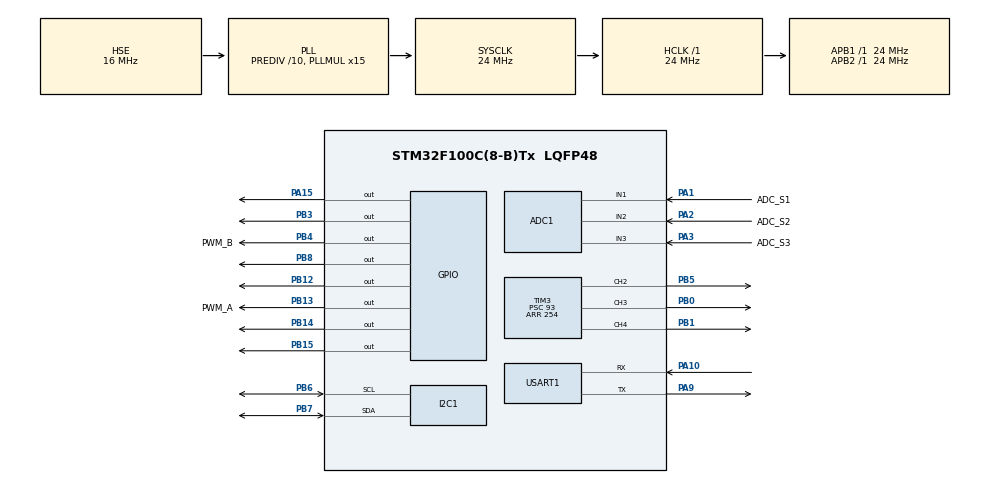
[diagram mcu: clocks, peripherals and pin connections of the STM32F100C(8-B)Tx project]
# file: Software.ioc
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ADC1.Channel-1\#ChannelRegularConversion=ADC_CHANNEL_1
ADC1.ContinuousConvMode=DISABLE
ADC1.NbrOfConversion=1
ADC1.NbrOfConversionFlag=1
ADC1.Rank-1\#ChannelRegularConversion=1
ADC1.SamplingTime-1\#ChannelRegularConversion=ADC_SAMPLETIME_1CYCLE_5
ADC1.master=1
Mcu.Family=STM32F1
Mcu.Name=STM32F100C(8-B)Tx
Mcu.Package=LQFP48
NVIC.PriorityGroup=NVIC_PRIORITYGROUP_4
NVIC.TIM1_BRK_TIM15_IRQn=true\:0\:0\:false\:false\:true\:true\:true
NVIC.TIM2_IRQn=true\:0\:0\:false\:false\:true\:true\:true
NVIC.TIM3_IRQn=true\:0\:0\:false\:false\:true\:true\:true
NVIC.TIM4_IRQn=true\:0\:0\:false\:false\:true\:true\:true
NVIC.TIM6_DAC_IRQn=true\:0\:0\:false\:false\:true\:true\:true
NVIC.TIM7_IRQn=true\:0\:0\:false\:false\:true\:true\:true
PA1.GPIO_Label=ADC_S1
PA1.Signal=ADCx_IN1
PA10.Mode=Asynchronous
PA10.Signal=USART1_RX
PA13.Mode=Serial_Wire
PA13.Signal=SYS_JTMS-SWDIO
PA14.Mode=Serial_Wire
PA14.Signal=SYS_JTCK-SWCLK
PA15.Signal=GPIO_Output
PA2.GPIO_Label=ADC_S2
PA2.Signal=ADCx_IN2
PA3.GPIO_Label=ADC_S3
PA3.Signal=ADCx_IN3
PA9.Mode=Asynchronous
PA9.Signal=USART1_TX
PB0.Signal=S_TIM3_CH3
PB1.Signal=S_TIM3_CH4
PB12.Signal=GPIO_Output
PB13.GPIO_Label=PWM_A
PB13.Signal=GPIO_Output
PB14.Signal=GPIO_Output
PB15.Signal=GPIO_Output
PB3.Signal=GPIO_Output
PB4.GPIO_Label=PWM_B
PB4.Signal=GPIO_Output
PB5.Signal=S_TIM3_CH2
PB6.Mode=I2C
PB6.Signal=I2C1_SCL
PB7.Mode=I2C
PB7.Signal=I2C1_SDA
PB8.Signal=GPIO_Output
PD0-OSC_IN.Mode=HSE-External-Oscillator
PD0-OSC_IN.Signal=RCC_OSC_IN
PD1-OSC_OUT.Mode=HSE-External-Oscillator
PD1-OSC_OUT.Signal=RCC_OSC_OUT
ProjectManager.HeapSize=0x200
ProjectManager.StackSize=0x400
ProjectManager.TargetToolchain=STM32CubeIDE
RCC.AHBFreq_Value=24000000
RCC.APB1Freq_Value=24000000
RCC.APB1TimFreq_Value=24000000
RCC.APB2Freq_Value=24000000
RCC.APB2TimFreq_Value=24000000
RCC.HCLKFreq_Value=24000000
RCC.HSEDivPLL=RCC_HSE_PREDIV_DIV10
RCC.HSE_VALUE=16000000
RCC.PLLMUL=RCC_PLL_MUL15
RCC.PLLSource=RCC_PLLSOURCE_HSE
RCC.SYSCLKFreq_VALUE=24000000
RCC.SYSCLKSource=RCC_SYSCLKSOURCE_PLLCLK
SH.ADCx_IN1.0=ADC1_IN1,IN1
SH.ADCx_IN2.0=ADC1_IN2,IN2
SH.ADCx_IN3.0=ADC1_IN3,IN3
SH.S_TIM3_CH2.0=TIM3_CH2,PWM Generation2 CH2
SH.S_TIM3_CH3.0=TIM3_CH3,PWM Generation3 CH3
SH.S_TIM3_CH4.0=TIM3_CH4,PWM Generation4 CH4
TIM15.Period=23999
TIM15.Prescaler=9999
TIM2.ClockDivision=TIM_CLOCKDIVISION_DIV1
TIM2.Period=99
TIM2.Prescaler=23
TIM3.Channel-PWM\ Generation2\ CH2=TIM_CHANNEL_2
TIM3.Channel-PWM\ Generation3\ CH3=TIM_CHANNEL_3
TIM3.Channel-PWM\ Generation4\ CH4=TIM_CHANNEL_4
TIM3.Period=254
TIM3.Prescaler=93
TIM4.Period=239
TIM4.Prescaler=9999
TIM6.Period=999
TIM6.Prescaler=239
TIM7.Period=239
TIM7.Prescaler=99
USART1.VirtualMode=VM_ASYNC
USART1.WordLength=WORDLENGTH_9B
VP_TIM15_VS_ClockSourceINT.Mode=Internal
VP_TIM2_VS_ClockSourceINT.Mode=Internal
VP_TIM4_VS_ClockSourceINT.Mode=Internal
VP_TIM6_VS_ClockSourceINT.Mode=Enable_Timer
VP_TIM7_VS_ClockSourceINT.Mode=Enable_Timer
board=custom

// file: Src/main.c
/* USER CODE BEGIN Header */
/**
  ******************************************************************************
  * @file           : main.c
  * @brief          : Main program body
  ******************************************************************************
  * @attention
  *
  * <h2><center>&copy; Copyright (c) 2019 STMicroelectronics.
  * All rights reserved.</center></h2>
  *
  * This software component is licensed by ST under BSD 3-Clause license,
  * the "License"; You may not use this file except in compliance with the
  * License. You may obtain a copy of the License at:
  *                        opensource.org/licenses/BSD-3-Clause
  *
  ******************************************************************************
  */
/* USER CODE END Header */

#include "main.h"

ADC_HandleTypeDef hadc1;

I2C_HandleTypeDef hi2c1;

TIM_HandleTypeDef htim2;
TIM_HandleTypeDef htim3;
TIM_HandleTypeDef htim4;
TIM_HandleTypeDef htim6;
TIM_HandleTypeDef htim7;
TIM_HandleTypeDef htim15;

UART_HandleTypeDef huart1;

/* USER CODE BEGIN PV */
/* Private variables ---------------------------------------------------------*/
float accAngle = 0;
float gyroAngle = 0;
float rawGyro = 0;
float rawAccel = 0;
int8_t theta;
uint8_t cnt = 0;
int16_t previousAngle = 0;
int16_t currentAngle = 0;
int16_t angleSum = 0;

Voltage battery;

char received;

motor_t left_motor = {LEFT_SIDE, 50};
motor_t right_motor = {RIGHT_SIDE, 50};
uint8_t pwm_cnt;

/* USER CODE END PV */

void SystemClock_Config(void);
static void MX_GPIO_Init(void);
static void MX_I2C1_Init(void);
static void MX_USART1_UART_Init(void);
static void MX_TIM2_Init(void);
static void MX_TIM4_Init(void);
static void MX_TIM6_Init(void);
static void MX_TIM7_Init(void);
static void MX_TIM3_Init(void);
static void MX_ADC1_Init(void);
static void MX_TIM15_Init(void);
/* USER CODE BEGIN PFP */
/* Private function prototypes -----------------------------------------------*/
void HAL_TIM_PeriodElapsedCallback(TIM_HandleTypeDef *htim){
	if(htim->Instance == TIM2){
		pwm_cnt++;
		generateMotorsPWM(&left_motor, &right_motor, pwm_cnt);
		if(pwm_cnt >= 100)
			pwm_cnt = 0;
	}
	if(htim->Instance == TIM4){
		anglePID(0,theta);
	}
	if(htim->Instance == TIM7){
		//frequency = 1kHz
		gyroAngle = getGyroPitch(gyroAngle, rawGyro);
		accAngle = rawAccel;
		theta = getKalmanAngle(theta, getGyroYRate(rawGyro), 0.04);
	}
	if(htim->Instance == TIM15){
		measureBatteryLevel(&battery);
	}
}

void HAL_UART_RxCpltCallback(UART_HandleTypeDef *huart) {
	if(received == 't'){
		HAL_GPIO_TogglePin(GPIOB, LED);
	}
	  HAL_UART_Receive_IT(&huart1, &received, sizeof(received));
}

/* USER CODE END PFP */

int main(void)
{
  /* USER CODE BEGIN 1 */
	pwm_cnt = 0;

  /* USER CODE END 1 */

  /* MCU Configuration--------------------------------------------------------*/

  /* Reset of all peripherals, Initializes the Flash interface and the Systick. */
  HAL_Init();

  /* Configure the system clock */
  SystemClock_Config();

  /* Initialize all configured peripherals */
  MX_GPIO_Init();
  MX_I2C1_Init();
  MX_USART1_UART_Init();
  MX_TIM2_Init();
  MX_TIM4_Init();
  MX_TIM6_Init();
  MX_TIM7_Init();
  MX_TIM3_Init();
  MX_ADC1_Init();
  MX_TIM15_Init();
  /* USER CODE BEGIN 2 */
  PID_Init();
  gy521_Init();
  gyroAngle = getAccelPitch();
  accAngle = gyroAngle;
  _angle = gyroAngle;
  kalmanInit();
  HAL_TIM_Base_Start_IT(&htim2);
  HAL_TIM_Base_Start_IT(&htim4);
  HAL_TIM_Base_Start_IT(&htim6);
  HAL_TIM_Base_Start_IT(&htim7);
  HAL_SetTickFreq(HAL_TICK_FREQ_DEFAULT);
  test = 0;

  HAL_TIM_PWM_Start_IT(&htim3, TIM_CHANNEL_2);
  HAL_TIM_PWM_Start_IT(&htim3, TIM_CHANNEL_3);
  HAL_TIM_PWM_Start_IT(&htim3, TIM_CHANNEL_4);

  HAL_ADC_Start(&hadc1);

  HAL_UART_Receive_IT(&huart1, &received, sizeof(received));
  /* USER CODE END 2 */

  /* Infinite loop */
  /* USER CODE BEGIN WHILE */
  while (1){

	  moveRobot(FORWARD);
	  setMotorSpeed(&left_motor, 0);
	  HAL_Delay(1000);
	  setMotorSpeed(&left_motor, 25);
	  HAL_Delay(1000);
	  setMotorSpeed(&left_motor, 50);
	  HAL_Delay(1000);
	  setMotorSpeed(&left_motor, 75);
	  HAL_Delay(1000);
	  setMotorSpeed(&left_motor, 100);
	  HAL_Delay(1000);
	  setMotorSpeed(&left_motor, 75);
	  HAL_Delay(1000);
	  setMotorSpeed(&left_motor, 50);
	  HAL_Delay(1000);
	  setMotorSpeed(&left_motor, 25);
	  HAL_Delay(1000);
	  //rawGyro = getGyro_Y();
	  //rawAccel = getAccelPitch();

	 // HAL_GPIO_WritePin(GPIOB,LED,GPIO_PIN_SET);
    /* USER CODE END WHILE */

  }
}

void SystemClock_Config(void)
{
  RCC_OscInitTypeDef RCC_OscInitStruct = {0};
  RCC_ClkInitTypeDef RCC_ClkInitStruct = {0};
  RCC_PeriphCLKInitTypeDef PeriphClkInit = {0};

  /** Initializes the CPU, AHB and APB busses clocks
  */
  RCC_OscInitStruct.OscillatorType = RCC_OSCILLATORTYPE_HSE;
  RCC_OscInitStruct.HSEState = RCC_HSE_ON;
  RCC_OscInitStruct.HSEPredivValue = RCC_HSE_PREDIV_DIV10;
  RCC_OscInitStruct.PLL.PLLState = RCC_PLL_ON;
  RCC_OscInitStruct.PLL.PLLSource = RCC_PLLSOURCE_HSE;
  RCC_OscInitStruct.PLL.PLLMUL = RCC_PLL_MUL15;
  if (HAL_RCC_OscConfig(&RCC_OscInitStruct) != HAL_OK)
  {
    Error_Handler();
  }
  /** Initializes the CPU, AHB and APB busses clocks
  */
  RCC_ClkInitStruct.ClockType = RCC_CLOCKTYPE_HCLK|RCC_CLOCKTYPE_SYSCLK
                              |RCC_CLOCKTYPE_PCLK1|RCC_CLOCKTYPE_PCLK2;
  RCC_ClkInitStruct.SYSCLKSource = RCC_SYSCLKSOURCE_PLLCLK;
  RCC_ClkInitStruct.AHBCLKDivider = RCC_SYSCLK_DIV1;
  RCC_ClkInitStruct.APB1CLKDivider = RCC_HCLK_DIV1;
  RCC_ClkInitStruct.APB2CLKDivider = RCC_HCLK_DIV1;

  if (HAL_RCC_ClockConfig(&RCC_ClkInitStruct, FLASH_LATENCY_0) != HAL_OK)
  {
    Error_Handler();
  }
  PeriphClkInit.PeriphClockSelection = RCC_PERIPHCLK_ADC;
  PeriphClkInit.AdcClockSelection = RCC_ADCPCLK2_DIV2;
  if (HAL_RCCEx_PeriphCLKConfig(&PeriphClkInit) != HAL_OK)
  {
    Error_Handler();
  }
}

static void MX_ADC1_Init(void)
{

  ADC_ChannelConfTypeDef sConfig = {0};

  /** Common config
  */
  hadc1.Instance = ADC1;
  hadc1.Init.ScanConvMode = ADC_SCAN_DISABLE;
  hadc1.Init.ContinuousConvMode = DISABLE;
  hadc1.Init.DiscontinuousConvMode = DISABLE;
  hadc1.Init.ExternalTrigConv = ADC_SOFTWARE_START;
  hadc1.Init.DataAlign = ADC_DATAALIGN_RIGHT;
  hadc1.Init.NbrOfConversion = 1;
  if (HAL_ADC_Init(&hadc1) != HAL_OK)
  {
    Error_Handler();
  }
  /** Configure Regular Channel
  */
  sConfig.Channel = ADC_CHANNEL_1;
  sConfig.Rank = ADC_REGULAR_RANK_1;
  sConfig.SamplingTime = ADC_SAMPLETIME_1CYCLE_5;
  if (HAL_ADC_ConfigChannel(&hadc1, &sConfig) != HAL_OK)
  {
    Error_Handler();
  }

}

static void MX_I2C1_Init(void)
{

  hi2c1.Instance = I2C1;
  hi2c1.Init.ClockSpeed = 100000;
  hi2c1.Init.DutyCycle = I2C_DUTYCYCLE_2;
  hi2c1.Init.OwnAddress1 = 0;
  hi2c1.Init.AddressingMode = I2C_ADDRESSINGMODE_7BIT;
  hi2c1.Init.DualAddressMode = I2C_DUALADDRESS_DISABLE;
  hi2c1.Init.OwnAddress2 = 0;
  hi2c1.Init.GeneralCallMode = I2C_GENERALCALL_DISABLE;
  hi2c1.Init.NoStretchMode = I2C_NOSTRETCH_DISABLE;
  if (HAL_I2C_Init(&hi2c1) != HAL_OK)
  {
    Error_Handler();
  }

}

static void MX_TIM2_Init(void)
{

  TIM_ClockConfigTypeDef sClockSourceConfig = {0};
  TIM_MasterConfigTypeDef sMasterConfig = {0};

  htim2.Instance = TIM2;
  htim2.Init.Prescaler = 23;
  htim2.Init.CounterMode = TIM_COUNTERMODE_UP;
  htim2.Init.Period = 99;
  htim2.Init.ClockDivision = TIM_CLOCKDIVISION_DIV1;
  htim2.Init.AutoReloadPreload = TIM_AUTORELOAD_PRELOAD_DISABLE;
  if (HAL_TIM_Base_Init(&htim2) != HAL_OK)
  {
    Error_Handler();
  }
  sClockSourceConfig.ClockSource = TIM_CLOCKSOURCE_INTERNAL;
  if (HAL_TIM_ConfigClockSource(&htim2, &sClockSourceConfig) != HAL_OK)
  {
    Error_Handler();
  }
  sMasterConfig.MasterOutputTrigger = TIM_TRGO_RESET;
  sMasterConfig.MasterSlaveMode = TIM_MASTERSLAVEMODE_DISABLE;
  if (HAL_TIMEx_MasterConfigSynchronization(&htim2, &sMasterConfig) != HAL_OK)
  {
    Error_Handler();
  }

}

static void MX_TIM3_Init(void)
{

  TIM_MasterConfigTypeDef sMasterConfig = {0};
  TIM_OC_InitTypeDef sConfigOC = {0};

  htim3.Instance = TIM3;
  htim3.Init.Prescaler = 93;
  htim3.Init.CounterMode = TIM_COUNTERMODE_UP;
  htim3.Init.Period = 254;
  htim3.Init.ClockDivision = TIM_CLOCKDIVISION_DIV1;
  htim3.Init.AutoReloadPreload = TIM_AUTORELOAD_PRELOAD_DISABLE;
  if (HAL_TIM_PWM_Init(&htim3) != HAL_OK)
  {
    Error_Handler();
  }
  sMasterConfig.MasterOutputTrigger = TIM_TRGO_RESET;
  sMasterConfig.MasterSlaveMode = TIM_MASTERSLAVEMODE_DISABLE;
  if (HAL_TIMEx_MasterConfigSynchronization(&htim3, &sMasterConfig) != HAL_OK)
  {
    Error_Handler();
  }
  sConfigOC.OCMode = TIM_OCMODE_PWM1;
  sConfigOC.Pulse = 0;
  sConfigOC.OCPolarity = TIM_OCPOLARITY_HIGH;
  sConfigOC.OCFastMode = TIM_OCFAST_DISABLE;
  if (HAL_TIM_PWM_ConfigChannel(&htim3, &sConfigOC, TIM_CHANNEL_2) != HAL_OK)
  {
    Error_Handler();
  }
  if (HAL_TIM_PWM_ConfigChannel(&htim3, &sConfigOC, TIM_CHANNEL_3) != HAL_OK)
  {
    Error_Handler();
  }
  if (HAL_TIM_PWM_ConfigChannel(&htim3, &sConfigOC, TIM_CHANNEL_4) != HAL_OK)
  {
    Error_Handler();
  }
  HAL_TIM_MspPostInit(&htim3);

}

static void MX_TIM4_Init(void)
{

  TIM_ClockConfigTypeDef sClockSourceConfig = {0};
  TIM_MasterConfigTypeDef sMasterConfig = {0};

  htim4.Instance = TIM4;
  htim4.Init.Prescaler = 9999;
  htim4.Init.CounterMode = TIM_COUNTERMODE_UP;
  htim4.Init.Period = 239;
  htim4.Init.ClockDivision = TIM_CLOCKDIVISION_DIV1;
  htim4.Init.AutoReloadPreload = TIM_AUTORELOAD_PRELOAD_DISABLE;
  if (HAL_TIM_Base_Init(&htim4) != HAL_OK)
  {
    Error_Handler();
  }
  sClockSourceConfig.ClockSource = TIM_CLOCKSOURCE_INTERNAL;
  if (HAL_TIM_ConfigClockSource(&htim4, &sClockSourceConfig) != HAL_OK)
  {
    Error_Handler();
  }
  sMasterConfig.MasterOutputTrigger = TIM_TRGO_RESET;
  sMasterConfig.MasterSlaveMode = TIM_MASTERSLAVEMODE_DISABLE;
  if (HAL_TIMEx_MasterConfigSynchronization(&htim4, &sMasterConfig) != HAL_OK)
  {
    Error_Handler();
  }

}

static void MX_TIM6_Init(void)
{

  TIM_MasterConfigTypeDef sMasterConfig = {0};

  htim6.Instance = TIM6;
  htim6.Init.Prescaler = 239;
  htim6.Init.CounterMode = TIM_COUNTERMODE_UP;
  htim6.Init.Period = 999;
  htim6.Init.AutoReloadPreload = TIM_AUTORELOAD_PRELOAD_DISABLE;
  if (HAL_TIM_Base_Init(&htim6) != HAL_OK)
  {
    Error_Handler();
  }
  sMasterConfig.MasterOutputTrigger = TIM_TRGO_RESET;
  sMasterConfig.MasterSlaveMode = TIM_MASTERSLAVEMODE_DISABLE;
  if (HAL_TIMEx_MasterConfigSynchronization(&htim6, &sMasterConfig) != HAL_OK)
  {
    Error_Handler();
  }

}

static void MX_TIM7_Init(void)
{

  TIM_MasterConfigTypeDef sMasterConfig = {0};

  htim7.Instance = TIM7;
  htim7.Init.Prescaler = 99;
  htim7.Init.CounterMode = TIM_COUNTERMODE_UP;
  htim7.Init.Period = 239;
  htim7.Init.AutoReloadPreload = TIM_AUTORELOAD_PRELOAD_DISABLE;
  if (HAL_TIM_Base_Init(&htim7) != HAL_OK)
  {
    Error_Handler();
  }
  sMasterConfig.MasterOutputTrigger = TIM_TRGO_RESET;
  sMasterConfig.MasterSlaveMode = TIM_MASTERSLAVEMODE_DISABLE;
  if (HAL_TIMEx_MasterConfigSynchronization(&htim7, &sMasterConfig) != HAL_OK)
  {
    Error_Handler();
  }

}

static void MX_TIM15_Init(void)
{

  TIM_ClockConfigTypeDef sClockSourceConfig = {0};
  TIM_MasterConfigTypeDef sMasterConfig = {0};

  htim15.Instance = TIM15;
  htim15.Init.Prescaler = 9999;
  htim15.Init.CounterMode = TIM_COUNTERMODE_UP;
  htim15.Init.Period = 23999;
  htim15.Init.ClockDivision = TIM_CLOCKDIVISION_DIV1;
  htim15.Init.RepetitionCounter = 0;
  htim15.Init.AutoReloadPreload = TIM_AUTORELOAD_PRELOAD_DISABLE;
  if (HAL_TIM_Base_Init(&htim15) != HAL_OK)
  {
    Error_Handler();
  }
  sClockSourceConfig.ClockSource = TIM_CLOCKSOURCE_INTERNAL;
  if (HAL_TIM_ConfigClockSource(&htim15, &sClockSourceConfig) != HAL_OK)
  {
    Error_Handler();
  }
  sMasterConfig.MasterOutputTrigger = TIM_TRGO_RESET;
  sMasterConfig.MasterSlaveMode = TIM_MASTERSLAVEMODE_DISABLE;
  if (HAL_TIMEx_MasterConfigSynchronization(&htim15, &sMasterConfig) != HAL_OK)
  {
    Error_Handler();
  }

}

static void MX_USART1_UART_Init(void)
{

  huart1.Instance = USART1;
  huart1.Init.BaudRate = 115200;
  huart1.Init.WordLength = UART_WORDLENGTH_9B;
  huart1.Init.StopBits = UART_STOPBITS_1;
  huart1.Init.Parity = UART_PARITY_NONE;
  huart1.Init.Mode = UART_MODE_TX_RX;
  huart1.Init.HwFlowCtl = UART_HWCONTROL_NONE;
  huart1.Init.OverSampling = UART_OVERSAMPLING_16;
  if (HAL_UART_Init(&huart1) != HAL_OK)
  {
    Error_Handler();
  }

}

static void MX_GPIO_Init(void)
{
  GPIO_InitTypeDef GPIO_InitStruct = {0};

  /* GPIO Ports Clock Enable */
  __HAL_RCC_GPIOD_CLK_ENABLE();
  __HAL_RCC_GPIOA_CLK_ENABLE();
  __HAL_RCC_GPIOB_CLK_ENABLE();

  /*Configure GPIO pin Output Level */
  HAL_GPIO_WritePin(GPIOB, GPIO_PIN_12|PWM_A_Pin|GPIO_PIN_14|GPIO_PIN_15
                          |GPIO_PIN_3|PWM_B_Pin|GPIO_PIN_8, GPIO_PIN_RESET);

  /*Configure GPIO pin Output Level */
  HAL_GPIO_WritePin(GPIOA, GPIO_PIN_15, GPIO_PIN_RESET);

  /*Configure GPIO pins : PB12 PWM_A_Pin PB14 PB15
                           PB3 PWM_B_Pin PB8 */
  GPIO_InitStruct.Pin = GPIO_PIN_12|PWM_A_Pin|GPIO_PIN_14|GPIO_PIN_15
                          |GPIO_PIN_3|PWM_B_Pin|GPIO_PIN_8;
  GPIO_InitStruct.Mode = GPIO_MODE_OUTPUT_PP;
  GPIO_InitStruct.Pull = GPIO_NOPULL;
  GPIO_InitStruct.Speed = GPIO_SPEED_FREQ_LOW;
  HAL_GPIO_Init(GPIOB, &GPIO_InitStruct);

  /*Configure GPIO pin : PA15 */
  GPIO_InitStruct.Pin = GPIO_PIN_15;
  GPIO_InitStruct.Mode = GPIO_MODE_OUTPUT_PP;
  GPIO_InitStruct.Pull = GPIO_NOPULL;
  GPIO_InitStruct.Speed = GPIO_SPEED_FREQ_LOW;
  HAL_GPIO_Init(GPIOA, &GPIO_InitStruct);

}

void Error_Handler(void)
{
  while(1)
  {
  }
}

/************************ (C) COPYRIGHT STMicroelectronics *****END OF FILE****/
